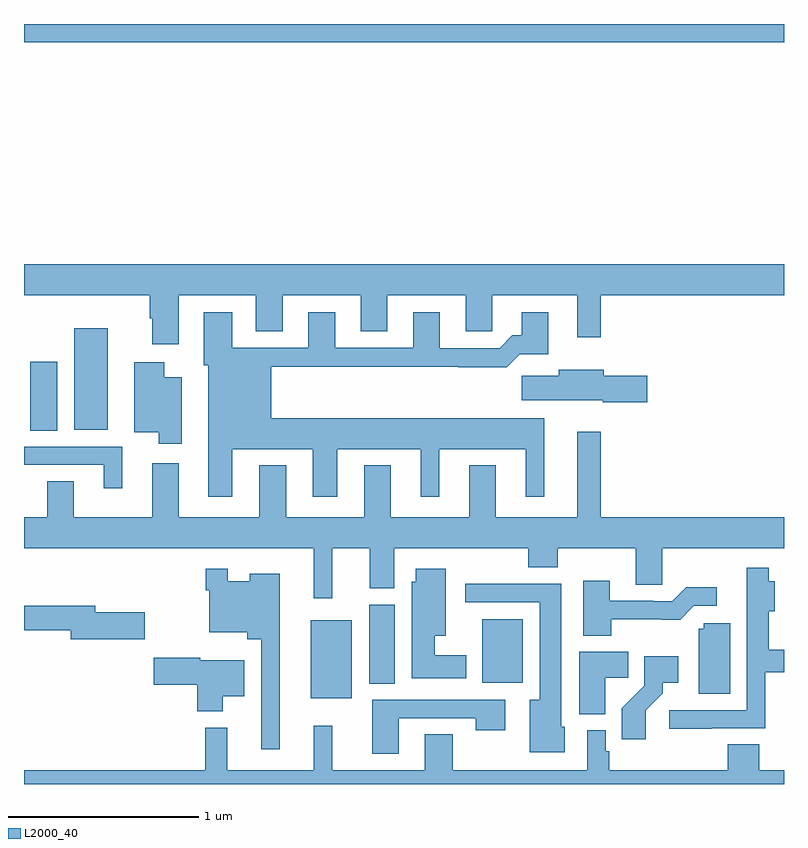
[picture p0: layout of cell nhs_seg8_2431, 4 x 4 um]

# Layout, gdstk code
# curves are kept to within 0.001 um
import gdstk
lib = gdstk.Library(unit=1e-6, precision=1e-09)
def R(c, l, rs):  # rectangles x0, y0, x1, y1
    for r in rs: c.add(gdstk.rectangle(r[:2], r[2:], *l))
def P(c, l, *ps):  # polygons
    for p in ps: c.add(gdstk.Polygon(p, *l))
L2000_40 = (2000, 40)

nhs_seg8_2431 = lib.new_cell('nhs_seg8_2431')
R(nhs_seg8_2431, L2000_40, [(264.509,1142.351,264.724,1142.761), (264.818,1142.428,264.952,1142.844), (265.412,1142.432,265.624,1142.767), (263.033,1143.76,263.176,1144.123), (263.264,1143.764,263.44,1144.3), (263,1145.804,267,1145.9)])
P(nhs_seg8_2431, L2000_40, [(263.815,1144.472),(264.221,1144.472),(264.221,1144.282),(264.361,1144.282),(264.361,1144.472),(264.773,1144.472),(264.773,1144.282),(264.913,1144.282),(264.913,1144.472),(265.325,1144.472),(265.325,1144.282),(265.464,1144.282),(265.464,1144.472),(265.913,1144.472),(265.913,1144.251),(266.035,1144.251),(266.035,1144.472),(267,1144.472),(267,1144.636),(263,1144.636),(263,1144.472),(263.663,1144.472),(263.663,1144.352),(263.675,1144.352),(263.675,1144.215),(263.815,1144.215)],
  [(264.097,1143.662),(264.521,1143.662),(264.521,1143.411),(264.649,1143.411),(264.649,1143.662),(265.088,1143.662),(265.088,1143.411),(265.186,1143.411),(265.186,1143.662),(265.64,1143.662),(265.64,1143.411),(265.738,1143.411),(265.738,1143.826),(264.301,1143.826),(264.301,1144.096),(265.285,1144.096),(265.285,1144.094),(265.541,1144.094),(265.61,1144.163),(265.759,1144.163),(265.759,1144.384),(265.619,1144.384),(265.619,1144.261),(265.57,1144.261),(265.503,1144.194),(265.189,1144.194),(265.189,1144.384),(265.049,1144.384),(265.049,1144.197),(264.637,1144.197),(264.637,1144.384),(264.497,1144.384),(264.497,1144.197),(264.097,1144.197),(264.097,1144.384),(263.945,1144.384),(263.945,1144.104),(263.969,1144.104),(263.969,1143.411),(264.097,1143.411)],
  [(263.83,1144.042),(263.737,1144.042),(263.737,1144.12),(263.579,1144.12),(263.579,1143.752),(263.708,1143.752),(263.708,1143.69),(263.83,1143.69)],
  [(266.281,1144.05),(266.05,1144.05),(266.05,1144.081),(265.814,1144.081),(265.814,1144.049),(265.62,1144.049),(265.62,1143.92),(266.046,1143.92),(266.046,1143.908),(266.281,1143.908)],
  [(264.623,1143.14),(264.821,1143.14),(264.821,1142.929),(264.949,1142.929),(264.949,1143.14),(265.654,1143.14),(265.654,1143.041),(265.809,1143.041),(265.809,1143.14),(266.219,1143.14),(266.219,1142.95),(266.358,1142.95),(266.358,1143.14),(267,1143.14),(267,1143.304),(266.035,1143.304),(266.035,1143.754),(265.913,1143.754),(265.913,1143.304),(265.483,1143.304),(265.483,1143.577),(265.343,1143.577),(265.343,1143.304),(264.931,1143.304),(264.931,1143.577),(264.791,1143.577),(264.791,1143.304),(264.379,1143.304),(264.379,1143.577),(264.239,1143.577),(264.239,1143.304),(263.815,1143.304),(263.815,1143.589),(263.675,1143.589),(263.675,1143.304),(263.263,1143.304),(263.263,1143.494),(263.123,1143.494),(263.123,1143.304),(263,1143.304),(263,1143.14),(264.524,1143.14),(264.524,1142.877),(264.623,1142.877)],
  [(263.518,1143.675),(263,1143.675),(263,1143.579),(263.42,1143.579),(263.42,1143.456),(263.518,1143.456)],
  [(266.621,1142.193),(266.901,1142.193),(266.901,1142.488),(267,1142.488),(267,1142.606),(266.921,1142.606),(266.921,1142.81),(266.951,1142.81),(266.951,1142.968),(266.921,1142.968),(266.921,1143.037),(266.804,1143.037),(266.804,1142.814),(266.805,1142.814),(266.805,1142.289),(266.397,1142.289),(266.397,1142.191),(266.621,1142.191)],
  [(264.346,1143.007),(264.188,1143.007),(264.188,1142.968),(264.072,1142.968),(264.072,1143.034),(263.956,1143.034),(263.956,1142.921),(263.976,1142.921),(263.976,1142.699),(264.176,1142.699),(264.176,1142.663),(264.249,1142.663),(264.249,1142.082),(264.346,1142.082)],
  [(265.327,1142.578),(265.162,1142.578),(265.162,1142.681),(265.219,1142.681),(265.219,1143.034),(265.061,1143.034),(265.061,1142.964),(265.04,1142.964),(265.04,1142.456),(265.327,1142.456)],
  [(266.091,1142.766),(266.453,1142.765),(266.526,1142.838),(266.647,1142.838),(266.647,1142.935),(266.485,1142.935),(266.412,1142.862),(266.312,1142.862),(266.312,1142.865),(266.083,1142.865),(266.083,1142.971),(265.943,1142.971),(265.943,1142.681),(266.091,1142.681)],
  [(265.846,1142.202),(265.828,1142.202),(265.828,1142.954),(265.323,1142.954),(265.323,1142.856),(265.715,1142.856),(265.715,1142.344),(265.661,1142.344),(265.661,1142.066),(265.846,1142.066)],
  [(263.635,1142.805),(263.374,1142.805),(263.374,1142.839),(263,1142.839),(263,1142.71),(263.246,1142.71),(263.246,1142.663),(263.635,1142.663)],
  [(266.716,1142.745),(266.577,1142.745),(266.577,1142.718),(266.552,1142.718),(266.552,1142.374),(266.716,1142.374)],
  [(266.059,1142.458),(266.18,1142.458),(266.18,1142.596),(265.922,1142.596),(265.922,1142.267),(266.059,1142.267)],
  [(266.272,1142.287),(266.362,1142.377),(266.362,1142.432),(266.443,1142.432),(266.443,1142.572),(266.265,1142.572),(266.265,1142.417),(266.146,1142.298),(266.146,1142.136),(266.272,1142.136)],
  [(264.046,1142.363),(264.16,1142.363),(264.16,1142.551),(263.928,1142.551),(263.928,1142.564),(263.682,1142.564),(263.682,1142.422),(263.912,1142.422),(263.912,1142.282),(264.046,1142.282)],
  [(264.973,1142.247),(265.378,1142.247),(265.378,1142.184),(265.534,1142.184),(265.534,1142.343),(264.833,1142.343),(264.833,1142.058),(264.973,1142.058)],
  [(263,1141.9),(267,1141.9),(267,1141.972),(266.87,1141.972),(266.87,1142.108),(266.705,1142.108),(266.705,1141.972),(266.081,1141.972),(266.081,1142.073),(266.061,1142.073),(266.061,1142.182),(265.965,1142.182),(265.965,1141.972),(265.257,1141.972),(265.257,1142.162),(265.109,1142.162),(265.109,1141.972),(264.623,1141.972),(264.623,1142.206),(264.524,1142.206),(264.524,1141.972),(264.071,1141.972),(264.071,1142.197),(263.953,1142.197),(263.953,1141.972),(263,1141.972)])

lib.write_gds('nhs_seg8_2431.gds')
